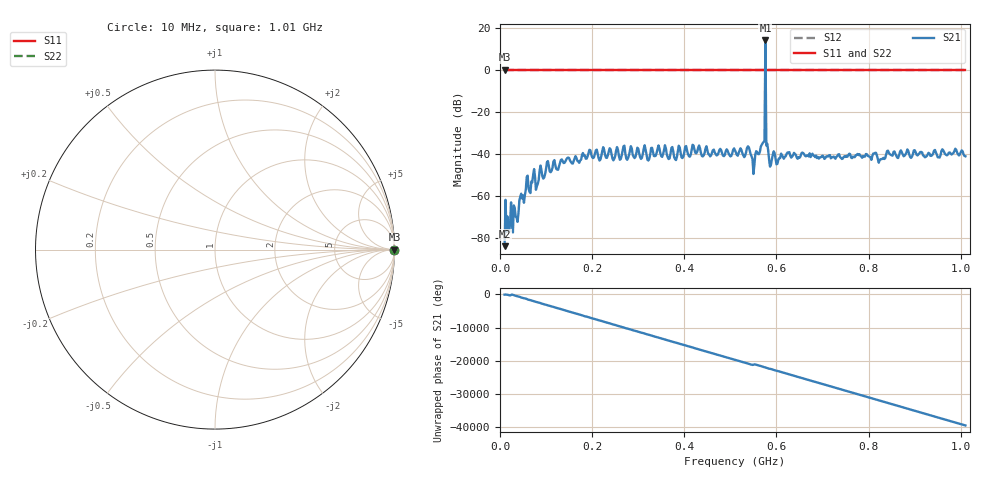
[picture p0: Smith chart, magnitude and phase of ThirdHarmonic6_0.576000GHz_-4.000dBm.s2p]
! 8/15/2025 6:32:51 PM
! C:\ANRITSUVNA\TEMP\TEMP.S2P
! CHANNEL.1
! TR.MEASUREMENT
! RAW.DATA
! RF.CORRECTION.OFF
! AVERAGING.OFF
! IF.BANDWIDTH: 5KHZ
! SWEEPTYPE:  FREQ.SWEEP(Linear)
! Reference Plane Port Info
! PORT:  PORT1  PORT2
! DISTANCE:  0  m  0  m
! TIME:  0  s  0  s
! PHASE.OFFSET:  0  deg.  0  deg.
! LOSS:  0  dB  0  dB
! REF.LOSS:  0  dB  0  dB
! REF.FREQ:  0  Hz  0  Hz
! Power Info
! POWER:  -20  dBm  -20  dBm
! EFF.POWER:  -20  dBm  -20  dBm
! SOURCE.ATTEN:  0  dB  0  dB
! TEST.ATTEN:  0  dB  0  dB
# GHZ S RI R 50.0
! FREQ.GHZ  S11RE  S11IM  S21RE  S21IM  S12RE  S12IM  S22RE  S22IM
!; PortSelection: Port_12
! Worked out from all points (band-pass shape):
!   501 points, 10 MHz to 1.01 GHz, reference 50 ohm
!   highest |S21| = 13.93 dB at 576 MHz (marker M1); lowest = -84.0 dB at 10 MHz (marker M2)
!   |S21| within 3 dB of the highest: 575.8749 MHz to 576.12 MHz (245.1 kHz wide, 0.0425 % of centre)
!   lowest |S11| = 0.0 dB at 10 MHz (marker M3)
!   |S11| at or under -10 dB: nowhere
!   |S22| runs from 0.0 to 0.0 dB; largest |S21 - S12| = 4
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0.01  1 0  -1.02e-05 -6.24e-05  1 0  1 0
0.038  1 0  -0.00016 0.000178  1 0  1 0
0.046  1 0  -0.000554 0.000973  1 0  1 0
0.072  1 0  -0.00315 0.000382  1 0  1 0
0.08  1 0  -0.00168 -0.000146  1 0  1 0
0.102  1 0  0.00551 0.00321  1 0  1 0
0.178  1 0  -0.00932 -0.000645  1 0  1 0
0.322  1 0  -0.00382 0.00575  1 0  1 0
0.344  1 0  0.0119 -0.0104  1 0  1 0
0.51  1 0  -0.00558 0.0107  1 0  1 0
0.54  1 0  0.014 -0.00312  1 0  1 0
0.55  1 0  0.000115 0.00331  1 0  1 0
0.57  1 0  -0.0084 -0.0158  1 0  1 0
0.572  1 0  -0.0167 0.00936  1 0  1 0
0.576  1 0  4.965 0.2894  1 0  1 0
0.58  1 0  -0.0158 0.00712  1 0  1 0
0.582  1 0  0.00612 0.0104  1 0  1 0
0.588  1 0  -0.00424 -0.00348  1 0  1 0
0.678  1 0  -0.00882 -0.0048  1 0  1 0
0.826  1 0  0.0053 0.00521  1 0  1 0
0.844  1 0  0.00828 0.00638  1 0  1 0
1.01  1 0  -0.00742 -0.00453  1 0  1 0
